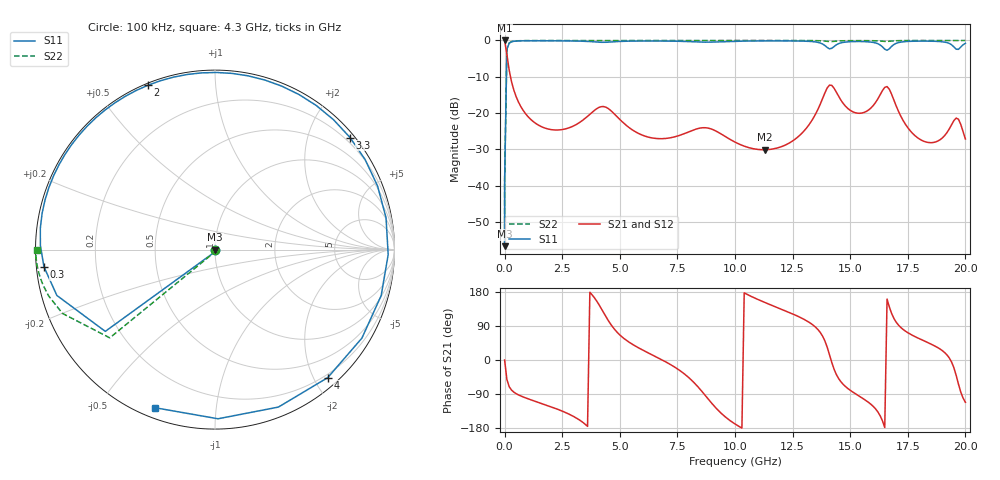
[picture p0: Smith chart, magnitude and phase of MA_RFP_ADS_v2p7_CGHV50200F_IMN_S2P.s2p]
! AWR Design Environment (7688) Thu Oct 13 15:18:23 2016
! Document = 'CGHV50200F_IMN_No_EM'
! nPorts: 2, nXvals: 203
# HZ S DB R 50
!Freq DBS11 AngS11 DBS21 AngS21 DBS12 AngS12 DBS22 AngS22
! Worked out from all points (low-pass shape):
!   202 points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, 100 kHz to 20 GHz, reference 50 ohm
!   highest |S21| = -0.01 dB at 100 kHz (marker M1); lowest = -30.1 dB at 11.3 GHz (marker M2)
!   |S21| within 3 dB of the highest: start of sweep to 78.35 MHz
!   lowest |S11| = -56.6 dB at 100 kHz (marker M3), VSWR 1.00, Z = 50.1 - j0.118 ohm
!   |S11| at or under -10 dB: start of sweep to 79.06 MHz
!   |S22| runs from -56.6 to 0.0 dB; largest |S21 - S12| = 0
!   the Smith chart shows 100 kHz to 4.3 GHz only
!   S11 on the Smith chart (normalised r, x): 100 kHz: 1.00, -0.00; 300 MHz: 0.02, -0.05; 2 GHz: 0.01, +0.67; 3.3 GHz: 0.10, +2.77; 4 GHz: 0.15, -2.20; 4.3 GHz: 0.04, -0.69
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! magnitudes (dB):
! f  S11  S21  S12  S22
! 100 kHz  -56.6  0.0  0.0  -56.6
! 1 MHz  -38.5  0.0  0.0  -38.5
! 100 MHz  -2.4  -3.8  -3.8  -2.3
! 300 MHz  -0.4  -11.3  -11.3  -0.3
! 900 MHz  -0.1  -20.1  -20.1  0.0
! 2 GHz  -0.1  -24.5  -24.5  0.0
! 3.3 GHz  -0.2  -22.4  -22.4  0.0
! 3.4 GHz  -0.2  -21.9  -21.9  0.0
! 4 GHz  -0.4  -18.8  -18.8  -0.1
! 4.3 GHz  -0.5  -18.2  -18.2  -0.1
! 6.7 GHz  -0.2  -27.0  -27.0  0.0
! 8.7 GHz  -0.5  -24.0  -24.0  0.0
! 10.1 GHz  -0.2  -28.3  -28.3  0.0
! 11.3 GHz  -0.1  -30.1  -30.1  0.0
! 13.4 GHz  -0.3  -21.4  -21.4  0.0
! 14.1 GHz  -2.3  -12.3  -12.3  -0.3
! 15.3 GHz  -0.3  -20.0  -20.0  0.0
! 16.7 GHz  -2.3  -13.4  -13.4  -0.2
! 18 GHz  -0.2  -27.1  -27.1  0.0
! 18.8 GHz  -0.3  -27.7  -27.7  0.0
! 19.6 GHz  -2.4  -21.4  -21.4  0.0
! 20 GHz  -0.8  -27.1  -27.1  0.0
